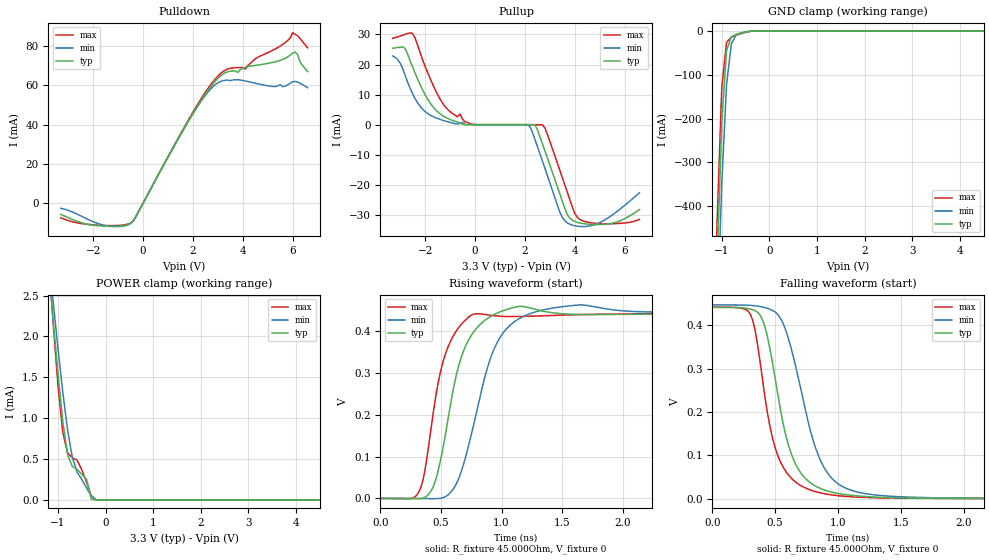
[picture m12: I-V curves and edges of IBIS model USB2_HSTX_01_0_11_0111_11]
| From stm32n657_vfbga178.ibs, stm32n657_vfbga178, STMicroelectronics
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[Model] USB2_HSTX_01_0_11_0111_11
Model_type   Output
Polarity   Non-Inverting
Enable   Active-High
C_comp   8.036pF   7.631pF   8.569pF
Vmeas = 200.000mV
Vref = 200.000mV
Rref = 45Ohms
Cref = 0pF
[Model Spec]
Vmeas   200.000mV   200.000mV   200.000mV
Vref   200.000mV   200.000mV   200.000mV
| This model is not intended for timing simulations.
| Warnings about Cref, Vref & Rref can be ignored
[Temperature Range]   25.000   125.000   -40.000
[Voltage Range]   3.300V   3.070V   3.630V
[GND Clamp Reference]   0.00V   0.00V   0.00V
[Pulldown Reference]   0.00V   0.00V   0.00V
[POWER Clamp Reference]   3.300V   3.070V   3.630V
[Pullup Reference]   3.300V   3.070V   3.630V
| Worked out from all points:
|   slope of the pulldown table from 0 to 0.495 V, typ, clamps not added: 42.6 ohm
|   GND clamp passes 1 mA (typ) near -0.43 V on its own axis
|   POWER clamp passes 1 mA (typ) near -0.91 V on its own axis
|   rising waveform, R_fixture 45.000Ohm, V_fixture 0: 20-80 % time 194ps typ, 246ps min, 168ps max; typ from 0 V to 0.442 V
|   falling waveform, R_fixture 45.000Ohm, V_fixture 0: 20-80 % time 196ps typ, 242ps min, 176ps max; typ from 0.442 V to 0 V
[GND Clamp]
-3.3V     -11.02A    -10.62A    -11.32A
-1.2V     -931.6mA   -1.049A    -855.7mA
-1.1V     -533.1mA   -671.7mA   -440.2mA
-1V       -209.4mA   -347mA     -127.3mA
-900mV    -44.44mA   -121.7mA   -25.6mA
-800mV    -13.15mA   -29.48mA   -14.15mA
-700mV    -7.743mA   -9.125mA   -9.769mA
-500mV    -2.127mA   -1.981mA   -2.894mA
-300mV    -19.54uA   -62.22uA   -13.65uA
6.6V      10.37uA    26.59uA    21.05uA
[Power Clamp]
-3.3V     3.206A     2.175A     4.855A
-1.2V     2.88mA     3.008mA    2.969mA
-1.1V     2.195mA    2.419mA    2.156mA
-1V       1.545mA    1.852mA    1.406mA
-900mV    967.9uA    1.324mA    831.4uA
-800mV    558.5uA    864.6uA    580.3uA
-700mV    412uA      525.9uA    517uA
-600mV    376.6uA    345uA      488.5uA
-400mV    254.2uA    146.6uA    216.8uA
-300mV    11.21uA    52.87uA    53.51uA
-100mV    94.74nA    985nA      361.1nA
6.6V      -2.4uA     -5.18uA    -3.523uA
[Pulldown]
-3.3V     -5.671mA   -2.581mA   -7.449mA
-1.6V     -11.64mA   -11.09mA   -11.31mA
-500mV    -10.25mA   -10.32mA   -10.1mA
1.9V      43.42mA    43.46mA    44.13mA
2.9V      62.15mA    60.37mA    63.26mA
3.4V      66.87mA    62.63mA    68.29mA
4.1V      69.19mA    62.19mA    68.26mA
4.5V      70.11mA    61.06mA    73.4mA
5.6V      73.12mA    59.29mA    80.76mA
6V        76.33mA    61.79mA    86.69mA
6.1V      76.87mA    61.93mA    85.99mA
6.6V      66.99mA    58.79mA    79.1mA
[Pullup]
-3.3V     25.41mA    22.87mA    28.69mA
-2.8V     25.3mA     16.38mA    30mA
-2.5V     19.22mA    10.28mA    30.28mA
-1.7V     6.185mA    2.829mA    13.54mA
-1.2V     2.602mA    1.31mA     6.111mA
-400mV    111.7uA    77.66uA    1.021mA
2.2V      68.69uA    -465.1uA   104.8uA
2.4V      56.19uA    -4.685mA   90.82uA
2.8V      -8.459mA   -14.22mA   -920uA
3.7V      -29.65mA   -32.41mA   -22.19mA
4.3V      -32.64mA   -33.68mA   -31.68mA
6.6V      -28.04mA   -22.46mA   -31.3mA
[Ramp]
R_load=45.000Ohm
dV/dt_r   633.011mV/985.000ps  601.227mV/995.000ps  686.726mV/930.000ps
dV/dt_f   635.188mV/225.000ps  604.110mV/285.000ps  688.529mV/210.000ps
[Rising waveform]
R_fixture=45.000Ohm
V_fixture=0
0s        452.2nV    3.135uV    468.1nV
330ps     -324.5uV   -446.7uV   23.59mV
460ps     47.91mV    -503.1uV   249.5mV
590ps     243.5mV    18.03mV    382.6mV
670ps     339.7mV    66.35mV    417.2mV
770ps     398.4mV    176.3mV    440.7mV
940ps     440.1mV    358.5mV    437mV
1.14ns    459.1mV    429.2mV    435.1mV
1.65ns    440mV      462.9mV    439.7mV
9.9ns     442.4mV    448.1mV    442.6mV
[Falling waveform]
R_fixture=45.000Ohm
V_fixture=0
0s        441.9mV    447.5mV    442.1mV
310ps     437.2mV    446.4mV    421mV
420ps     395.5mV    441.2mV    232.6mV
530ps     225.9mV    422mV      93.32mV
680ps     70.6mV     285.1mV    34.83mV
810ps     31.07mV    127.6mV    17.26mV
930ps     16.7mV     54.26mV    9.582mV
1.17ns    6.018mV    14.36mV    3.408mV
1.75ns    988.7uV    2.168mV    757.9uV
9.9ns     14.43uV    30.88uV    4.971uV
